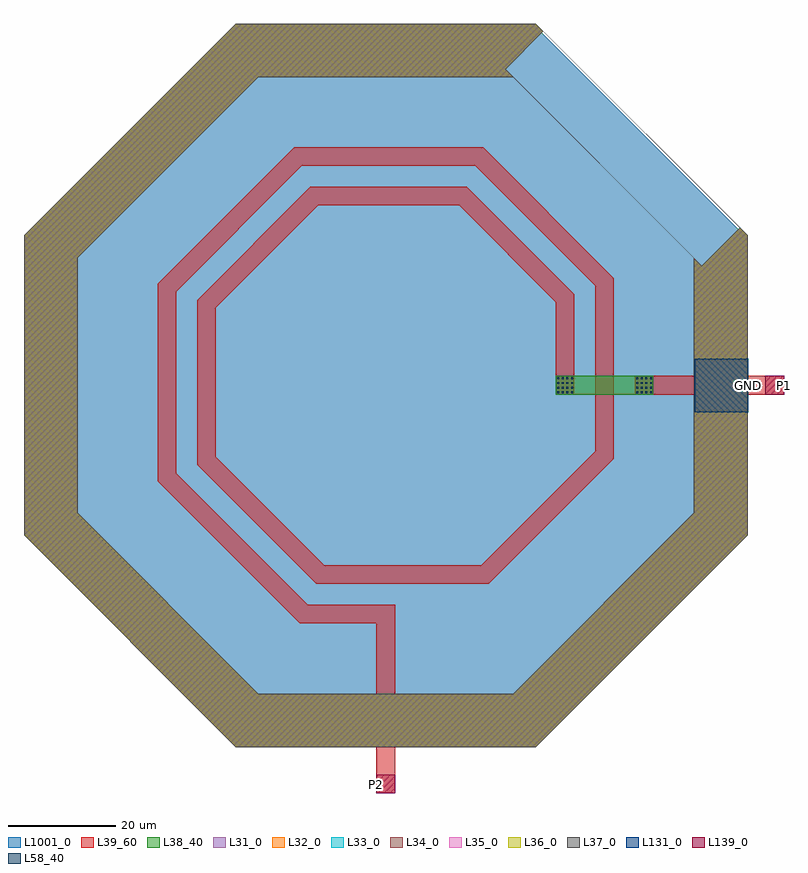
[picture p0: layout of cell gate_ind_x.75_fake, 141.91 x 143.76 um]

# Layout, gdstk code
import gdstk
lib = gdstk.Library(unit=1e-6, precision=1e-09)
def R(c, l, rs):  # rectangles x0, y0, x1, y1
    for r in rs: c.add(gdstk.rectangle(r[:2], r[2:], *l))
def A(c, l, x, y, w, h, nx, ny, dx, dy):  # array of equal rectangles
    R(c, l, [(x+i*dx, y+j*dy, x+i*dx+w, y+j*dy+h) for i in range(nx) for j in range(ny)])
def P(c, l, *ps):  # polygons
    for p in ps: c.add(gdstk.Polygon(p, *l))
L31_0 = (31, 0)
L32_0 = (32, 0)
L33_0 = (33, 0)
L34_0 = (34, 0)
L35_0 = (35, 0)
L36_0 = (36, 0)
L37_0 = (37, 0)
L38_40 = (38, 40)
L39_60 = (39, 60)
L58_40 = (58, 40)
L131_0 = (131, 0)
L139_0 = (139, 0)
L1001_0 = (1001, 0)

gate_ind_x_75_fake = lib.new_cell('gate_ind_x.75_fake')
P(gate_ind_x_75_fake, L31_0, [(59.016,22.374),(66.087,29.445),(27.981,67.552),(-27.981,67.552),(-67.552,27.981),(-67.552,-27.981),(-27.981,-67.552),(27.981,-67.552),(67.552,-27.981),(67.552,27.981),(29.445,66.087),(22.374,59.016),(57.552,23.839),(57.552,-23.839),(23.839,-57.552),(-23.839,-57.552),(-57.552,-23.839),(-57.552,23.839),(-23.839,57.552),(23.839,57.552)])
P(gate_ind_x_75_fake, L32_0, [(59.016,22.374),(66.087,29.445),(27.981,67.552),(-27.981,67.552),(-67.552,27.981),(-67.552,-27.981),(-27.981,-67.552),(27.981,-67.552),(67.552,-27.981),(67.552,27.981),(29.445,66.087),(22.374,59.016),(57.552,23.839),(57.552,-23.839),(23.839,-57.552),(-23.839,-57.552),(-57.552,-23.839),(-57.552,23.839),(-23.839,57.552),(23.839,57.552)])
P(gate_ind_x_75_fake, L33_0, [(59.016,22.374),(66.087,29.445),(27.981,67.552),(-27.981,67.552),(-67.552,27.981),(-67.552,-27.981),(-27.981,-67.552),(27.981,-67.552),(67.552,-27.981),(67.552,27.981),(29.445,66.087),(22.374,59.016),(57.552,23.839),(57.552,-23.839),(23.839,-57.552),(-23.839,-57.552),(-57.552,-23.839),(-57.552,23.839),(-23.839,57.552),(23.839,57.552)])
P(gate_ind_x_75_fake, L34_0, [(59.016,22.374),(66.087,29.445),(27.981,67.552),(-27.981,67.552),(-67.552,27.981),(-67.552,-27.981),(-27.981,-67.552),(27.981,-67.552),(67.552,-27.981),(67.552,27.981),(29.445,66.087),(22.374,59.016),(57.552,23.839),(57.552,-23.839),(23.839,-57.552),(-23.839,-57.552),(-57.552,-23.839),(-57.552,23.839),(-23.839,57.552),(23.839,57.552)])
P(gate_ind_x_75_fake, L35_0, [(59.016,22.374),(66.087,29.445),(27.981,67.552),(-27.981,67.552),(-67.552,27.981),(-67.552,-27.981),(-27.981,-67.552),(27.981,-67.552),(67.552,-27.981),(67.552,27.981),(29.445,66.087),(22.374,59.016),(57.552,23.839),(57.552,-23.839),(23.839,-57.552),(-23.839,-57.552),(-57.552,-23.839),(-57.552,23.839),(-23.839,57.552),(23.839,57.552)])
P(gate_ind_x_75_fake, L36_0, [(59.016,22.374),(66.087,29.445),(27.981,67.552),(-27.981,67.552),(-67.552,27.981),(-67.552,-27.981),(-27.981,-67.552),(27.981,-67.552),(67.552,-27.981),(67.552,27.981),(29.445,66.087),(22.374,59.016),(57.552,23.839),(57.552,-23.839),(23.839,-57.552),(-23.839,-57.552),(-57.552,-23.839),(-57.552,23.839),(-23.839,57.552),(23.839,57.552)])
P(gate_ind_x_75_fake, L37_0, [(59.016,22.374),(66.087,29.445),(27.981,67.552),(-27.981,67.552),(-67.552,27.981),(-67.552,-27.981),(-27.981,-67.552),(27.981,-67.552),(67.552,-27.981),(67.552,27.981),(29.445,66.087),(22.374,59.016),(57.552,23.839),(57.552,-23.839),(23.839,-57.552),(-23.839,-57.552),(-57.552,-23.839),(-57.552,23.839),(-23.839,57.552),(23.839,57.552)])
R(gate_ind_x_75_fake, L38_40, [(31.735,-1.75,49.985,1.75)])
P(gate_ind_x_75_fake, L38_40, [(59.016,22.374),(66.087,29.445),(27.981,67.552),(-27.981,67.552),(-67.552,27.981),(-67.552,-27.981),(-27.981,-67.552),(27.981,-67.552),(67.552,-27.981),(67.552,27.981),(29.445,66.087),(22.374,59.016),(57.552,23.839),(57.552,-23.839),(23.839,-57.552),(-23.839,-57.552),(-57.552,-23.839),(-57.552,23.839),(-23.839,57.552),(23.839,57.552)])
R(gate_ind_x_75_fake, L39_60, [(-1.75,-76.205,1.75,-40.955), (46.485,-1.75,74.36,1.75)])
P(gate_ind_x_75_fake, L39_60, [(31.735,-1.75),(35.235,-1.75),(35.235,16.98),(15.135,37.08),(-14.055,37.08),(-35.235,15.9),(-35.235,-14.82),(-12.975,-37.08),(19.27,-37.08),(42.61,-13.74),(42.61,20.035),(18.19,44.455),(-17.11,44.455),(-42.61,18.955),(-42.61,-17.875),(-16.03,-44.455),(0,-44.455),(0,-40.955),(-14.58,-40.955),(-39.11,-16.425),(-39.11,17.505),(-15.66,40.955),(16.74,40.955),(39.11,18.585),(39.11,-12.29),(17.82,-33.58),(-11.525,-33.58),(-31.735,-13.37),(-31.735,14.45),(-12.605,33.58),(13.685,33.58),(31.735,15.53)],
  [(59.016,22.374),(66.087,29.445),(27.981,67.552),(-27.981,67.552),(-67.552,27.981),(-67.552,-27.981),(-27.981,-67.552),(27.981,-67.552),(67.552,-27.981),(67.552,27.981),(29.445,66.087),(22.374,59.016),(57.552,23.839),(57.552,-23.839),(23.839,-57.552),(-23.839,-57.552),(-57.552,-23.839),(-57.552,23.839),(-23.839,57.552),(23.839,57.552)])
A(gate_ind_x_75_fake, L58_40, 32.007, -1.48, 0.35, 0.35, 4, 4, 0.87, 0.87)
A(gate_ind_x_75_fake, L58_40, 46.757, -1.48, 0.35, 0.35, 4, 4, 0.87, 0.87)
R(gate_ind_x_75_fake, L131_0, [(57.705,-5,67.705,5)])
R(gate_ind_x_75_fake, L139_0, [(-1.75,-76.205,1.75,-72.705), (70.86,-1.75,74.36,1.75)])
P(gate_ind_x_75_fake, L1001_0, [(67.171,27.823),(27.823,67.171),(-27.823,67.171),(-67.171,27.823),(-67.171,-27.823),(-27.823,-67.171),(27.823,-67.171),(67.171,-27.823)],
  [(67.171,27.823),(27.823,67.171),(-27.823,67.171),(-67.171,27.823),(-67.171,-27.823),(-27.823,-67.171),(27.823,-67.171),(67.171,-27.823)],
  [(67.171,27.823),(27.823,67.171),(-27.823,67.171),(-67.171,27.823),(-67.171,-27.823),(-27.823,-67.171),(27.823,-67.171),(67.171,-27.823)],
  [(67.171,27.823),(27.823,67.171),(-27.823,67.171),(-67.171,27.823),(-67.171,-27.823),(-27.823,-67.171),(27.823,-67.171),(67.171,-27.823)],
  [(67.171,27.823),(27.823,67.171),(-27.823,67.171),(-67.171,27.823),(-67.171,-27.823),(-27.823,-67.171),(27.823,-67.171),(67.171,-27.823)],
  [(67.171,27.823),(27.823,67.171),(-27.823,67.171),(-67.171,27.823),(-67.171,-27.823),(-27.823,-67.171),(27.823,-67.171),(67.171,-27.823)],
  [(67.171,27.823),(27.823,67.171),(-27.823,67.171),(-67.171,27.823),(-67.171,-27.823),(-27.823,-67.171),(27.823,-67.171),(67.171,-27.823)],
  [(67.171,27.823),(27.823,67.171),(-27.823,67.171),(-67.171,27.823),(-67.171,-27.823),(-27.823,-67.171),(27.823,-67.171),(67.171,-27.823)],
  [(67.171,27.823),(27.823,67.171),(-27.823,67.171),(-67.171,27.823),(-67.171,-27.823),(-27.823,-67.171),(27.823,-67.171),(67.171,-27.823)])
gate_ind_x_75_fake.add(gdstk.Label('P1', (74.362,0), layer=139, texttype=0))
gate_ind_x_75_fake.add(gdstk.Label('P2', (-1.75,-74.455), layer=139, texttype=0))
gate_ind_x_75_fake.add(gdstk.Label('GND', (67.705,0), layer=131, texttype=0))

lib.write_gds('gate_ind_x.75_fake.gds')
